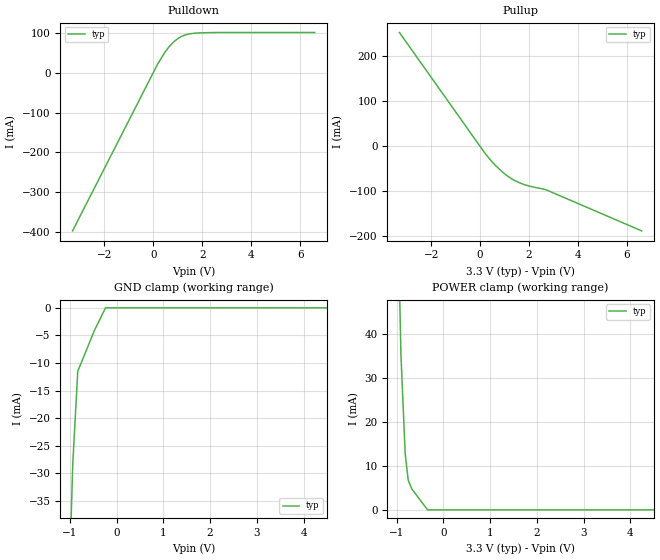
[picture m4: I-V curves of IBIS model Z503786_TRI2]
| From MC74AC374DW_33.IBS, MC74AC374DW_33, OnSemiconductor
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| (C) COPYRIGHT 1993-2000
| MENTOR GRAPHICS CORPORATION
| ICX STANDARD LIBRARY, ICX PROJECT MODELING,
| ICX CUSTOM MODELING, ICX VENDOR MODEL
| ALL RIGHTS RESERVED.
| THE FOLLOWING ARE TRADEMARKS OR SERVICE MARKS OF
| MENTOR GRAPHICS CORPORATION:ICX (R), ICX STANDARD
| LIBRARY(R), ICX PROJECT MODELING(R), ICX CUSTOM
| MODELING(R), qualityIBIS(TM), MODELVIEWER(TM),
| AND MODELEDITOR(TM)
| ALL COPIES OF SOFTWARE, INCLUDING BUT NOT LIMITED TO
| ANY MODIFICATIONS, ENHANCEMENTS OR DERIVATIVE WORKS,
| MUST CONTAIN ALL MENTOR GRAPHICS CORPORATION'S
| NOTICES AND LEGENDS, INCLUDING THOSE EMBEDDED IN
| SOFTWARE AND THOSE AFFIXED TO SOFTWARE MEDIUM
| AND CONTAINER, AS RECEIVED FROM MENTOR GRAPHICS
| CORPORATION.
| Model Application Version 1.89 2/18/99.
[Model] Z503786_TRI2
Model_type 3-state
Vref=0.000V
Rref=500.0ohms
Cref=50.00pF
Vmeas=1.650V
C_comp 8.000pF NA NA
| variable typ   min   max
[Voltage Range] 3.300V NA NA
[POWER Clamp Reference] 3.300V NA NA
[Pullup Reference] 3.300V NA NA
[Pulldown Reference] 0.000V NA NA
[GND Clamp Reference] 0.000V NA NA
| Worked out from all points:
|   slope of the pulldown table from 0 to 0.495 V, typ, clamps not added: 9.41 ohm
|   slope of the pullup table from 0 to 0.495 V, typ, clamps not added: 14.3 ohm
|   GND clamp passes 1 mA (typ) near -0.29 V on its own axis
[GND Clamp]
-3.3V     -699.2mA   NA         NA
-935.9mV  -28.19mA   NA         NA
-829.8mV  -11.53mA   NA         NA
-467.9mV  -3.999mA   NA         NA
-234mV    0A         NA         NA
6.6V      0A         NA         NA
[Pulldown]
-3.3V     -396.3mA   NA         NA
166.6mV   19.96mA    NA         NA
470.4mV   50.57mA    NA         NA
635.1mV   63.9mA     NA         NA
859.3mV   78.24mA    NA         NA
1.05V     86.94mA    NA         NA
1.262V    93.27mA    NA         NA
1.739V    98.77mA    NA         NA
6.6V      100.3mA    NA         NA
[Pullup]
-3.3V     252.5mA    NA         NA
180mV     -15.42mA   NA         NA
609mV     -43.03mA   NA         NA
932mV     -59.53mA   NA         NA
1.278V    -73.27mA   NA         NA
1.667V    -83.83mA   NA         NA
2.035V    -90.2mA    NA         NA
2.67V     -97.52mA   NA         NA
6.6V      -189.6mA   NA         NA
[POWER Clamp]
-3.3V     1.497A     NA         NA
-1.056V   108.5mA    NA         NA
-909mV    35.29mA    NA         NA
-818mV    12.78mA    NA         NA
-753mV    6.737mA    NA         NA
-678mV    4.781mA    NA         NA
-339mV    0A         NA         NA
6.6V      0A         NA         NA
[Ramp]
| variable typ min max
dV/dt_r 1.942/552.7p NA NA
dV/dt_f 1.942/708.9p NA NA
R_load = 500.0Ohms
